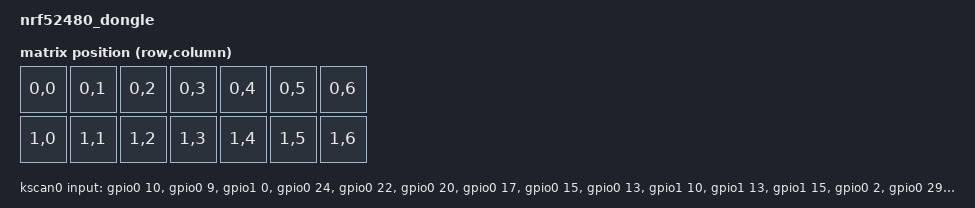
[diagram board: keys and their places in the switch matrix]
/*
 * Copyright (c) 2020 The ZMK Contributors
 *
 * SPDX-License-Identifier: MIT
 */

/dts-v1/;
#include <nordic/nrf52840_qiaa.dtsi>

/ {
	model = "nrf52480_dongle";
	compatible = "nrf52840_dongle";

	chosen {
		zephyr,code-partition = &code_partition;
		zephyr,sram = &sram0;
		zephyr,flash = &flash0;
		zmk,kscan = &kscan0;
		zmk,matrix_transform = &default_transform;
	};

	kscan0: kscan {
		compatible = "zmk,kscan-gpio-direct";

		label = "KSCAN";

		input-gpios
			= <&gpio0 10 (GPIO_PULL_UP | GPIO_ACTIVE_LOW)>
			, <&gpio0  9 (GPIO_PULL_UP | GPIO_ACTIVE_LOW)>
			, <&gpio1  0 (GPIO_PULL_UP | GPIO_ACTIVE_LOW)>
			, <&gpio0 24 (GPIO_PULL_UP | GPIO_ACTIVE_LOW)>
			, <&gpio0 22 (GPIO_PULL_UP | GPIO_ACTIVE_LOW)>
			, <&gpio0 20 (GPIO_PULL_UP | GPIO_ACTIVE_LOW)>
			, <&gpio0 17 (GPIO_PULL_UP | GPIO_ACTIVE_LOW)>
			, <&gpio0 15 (GPIO_PULL_UP | GPIO_ACTIVE_LOW)>
			, <&gpio0 13 (GPIO_PULL_UP | GPIO_ACTIVE_LOW)>

			, <&gpio1 10 (GPIO_PULL_UP | GPIO_ACTIVE_LOW)>
			, <&gpio1 13 (GPIO_PULL_UP | GPIO_ACTIVE_LOW)>
			, <&gpio1 15 (GPIO_PULL_UP | GPIO_ACTIVE_LOW)>
			, <&gpio0  2 (GPIO_PULL_UP | GPIO_ACTIVE_LOW)>
			, <&gpio0 29 (GPIO_PULL_UP | GPIO_ACTIVE_LOW)>
			, <&gpio0 31 (GPIO_PULL_UP | GPIO_ACTIVE_LOW)>
			;
	};

  default_transform: keymap_transform_0 {
		compatible = "zmk,matrix-transform";
		columns = <7>;
		rows = <2>;

		map = <
			RC(0,0) RC(0,1) RC(0,2) RC(0,3) RC(0,4) RC(0,5) RC(0,6) 
			RC(1,0) RC(1,1) RC(1,2) RC(1,3) RC(1,4) RC(1,5) RC(1,6) 
		>;
	};

	leds {
		compatible = "gpio-leds";
		led0_green: led_0 {
			gpios = <&gpio0 6 GPIO_ACTIVE_LOW>;
			label = "Green LED 0";
		};
		led1_red: led_1 {
			gpios = <&gpio0 8 GPIO_ACTIVE_LOW>;
			label = "Red LED 1";
		};
		led1_green: led_2 {
			gpios = <&gpio1 9 GPIO_ACTIVE_LOW>;
			label = "Green LED 1";
		};
		led1_blue: led_3 {
			gpios = <&gpio0 12 GPIO_ACTIVE_LOW>;
			label = "Blue LED 1";
		};
	};

	pwmleds {
		compatible = "pwm-leds";
		red_pwm_led: pwm_led_0 {
			pwms = <&pwm0 8>;
		};
		green_pwm_led: pwm_led_1 {
			pwms = <&pwm0 41>;
		};
		blue_pwm_led: pwm_led_2 {
			pwms = <&pwm0 12>;
		};
	};

	buttons {
		compatible = "gpio-keys";
		button0: button_0 {
			gpios = <&gpio1 6 (GPIO_PULL_UP | GPIO_ACTIVE_LOW)>;
			label = "Push button switch 0";
		};
	};

	aliases {
		sw0 = &button0;
		led0 = &led0_green;
		led1 = &led1_red;
		led2 = &led1_green;
		led3 = &led1_blue;
		led0-green = &led0_green;
		led1-red   = &led1_red;
		led1-green = &led1_green;
		led1-blue  = &led1_blue;
		pwm-led0 = &red_pwm_led;
		pwm-led1 = &green_pwm_led;
		pwm-led2 = &blue_pwm_led;
		red-pwm-led = &red_pwm_led;
		green-pwm-led = &green_pwm_led;
		blue-pwm-led = &blue_pwm_led;
	};
};

&adc {
	status = "okay";
};

&gpiote {
	status = "okay";
};

&gpio0 {
	status = "okay";
};

&gpio1 {
	status = "okay";
};

&usbd {
	compatible = "nordic,nrf-usbd";
	status = "okay";
};

&pwm0 {
	status = "okay";
	ch0-pin = <8>;
	ch0-inverted;
	ch1-pin = <41>;
	ch1-inverted;
	ch2-pin = <12>;
	ch2-inverted;
};

/*
 * By default, not adding all available SPI instances (spi2, spi3) due to
 * limited GPIOs available on dongle board.
 */
&spi0 {
	compatible = "nordic,nrf-spi";
	/* Cannot be used together with i2c0. */
	/* status = "okay"; */
	sck-pin = <27>;
	mosi-pin = <26>;
	miso-pin = <42>;
};

&spi1 {
	compatible = "nordic,nrf-spi";
	status = "okay";
	sck-pin = <31>;
	mosi-pin = <30>;
	miso-pin = <45>;
};

&flash0 {
	/*
	 * For more information, see:
	 * http://docs.zephyrproject.org/latest/devices/dts/flash_partitions.html
	 */
	partitions {
		compatible = "fixed-partitions";
		#address-cells = <1>;
		#size-cells = <1>;

		sd_partition: partition@0 {
			label = "softdevice";
			reg = <0x00000000 0x00026000>;
		};
		code_partition: partition@26000 {
			label = "code_partition";
			reg = <0x00026000 0x000c6000>;
		};

		/*
		 * The flash starting at 0x000ec000 and ending at
		 * 0x000f3fff is reserved for use by the application.
		 */

		/*
		 * Storage partition will be used by FCB/LittleFS/NVS
		 * if enabled.
		 */
		storage_partition: partition@ec000 {
			label = "storage";
			reg = <0x000ec000 0x00008000>;
		};

		boot_partition: partition@f4000 {
			label = "adafruit_boot";
			reg = <0x000f4000 0x0000c000>;
		};
	};
};
